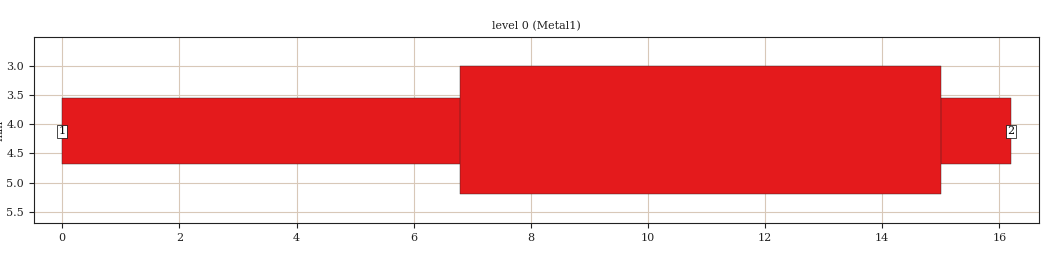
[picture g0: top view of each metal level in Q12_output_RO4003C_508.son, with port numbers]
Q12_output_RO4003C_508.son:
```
FTYP SONPROJ 19 ! Sonnet Project File
VER 18.53
HEADER
LIC SL64e88c52
DAT 08/29/2023 17:32:55
BUILT_BY_CREATED xgeom 18.53-Lite 08/28/2023 13:16:12
BUILT_BY_SAVED sonnet 18.53-Lite
MDATE 08/29/2023 17:32:55
HDATE 08/29/2023 17:32:55
END HEADER
DIM
ANG DEG
CAP PF
CON /OH
FREQ GHZ
IND NH
LNG MM
RES OH
END DIM
CONTROL
VARSWP
OPTIONS  -d
SPEED 0
CACHE_ABS 2
Q_ACC N
END CONTROL
GEO
TMET "Lossless" 0 SUP 0 0 0 0
BMET "Lossless" 0 SUP 0 0 0 0
BOX 1 16.2 8 162 80 20 0
      10 1 1 0.0035 0 0 0 "Air"
      0.508 3.55 1 0.0029 0 0 0 "Rogers RO4003C"
TECHLAY METAL Metal1 <UNSPECIFIED> -2 -65534 
0 0 -1 N 68 1 1 100 100 0 0 0 Y
END
END
VALVAR W LNG 1.13 "Dim. Param."
VALVAR D1 LNG 6.8 "Dim. Param."
DIM STD XDIR -1
POS -4.107573809 -0.719487695
NOM 8.2
REF1 POLY 114 1
1
REF2 POLY 114 1
0
END
DIM STD YDIR -1
POS -1.505169594 -3.768825003
NOM 2.2
REF1 POLY 114 1
3
REF2 POLY 114 1
0
END
LORGN 0 8 U 
POR1 BOX
POLY 15 1
3
1 50 0 0 0 0 4.121 
POR1 BOX
POLY 15 1
1
2 50 0 0 0 16.2 4.121 
NUM 2
0 5 -1 N 15 1 1 100 100 0 0 0 Y
TLAYNAM Metal1 INH
0 3.556
16.2 3.556
16.2 4.686
0 4.686
0 3.556
END
0 5 -1 N 114 1 1 100 100 0 0 0 Y
TLAYNAM Metal1 INH
6.8 3
15 3
15 5.2
6.8 5.2
6.8 3
END
END GEO
OPT
MAX 100
END OPT
VARSWP
ENABLED Y
FREQ N AY ABS_ENTRY 0.0 
FREQ Y AN STEP 5.32
VAR W N 0.508 0.508 UNDEF
VAR D1 N 5.0 5.0 UNDEF
END
END VARSWP
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```
